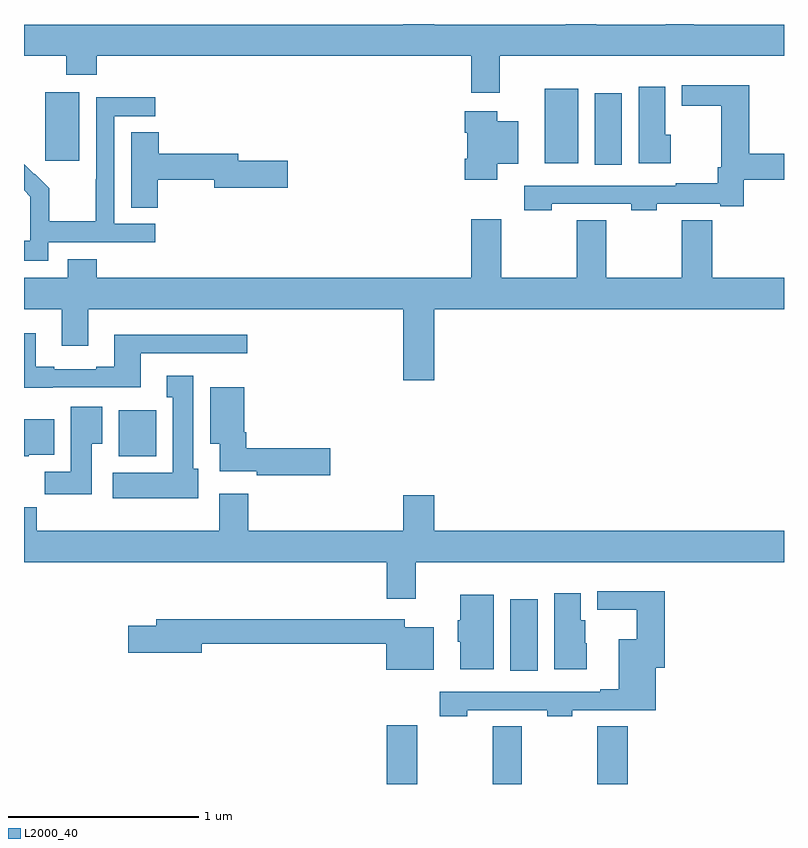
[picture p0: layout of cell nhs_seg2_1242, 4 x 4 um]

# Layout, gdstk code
import gdstk
lib = gdstk.Library(unit=1e-6, precision=1e-09)
def R(c, l, rs):  # rectangles x0, y0, x1, y1
    for r in rs: c.add(gdstk.rectangle(r[:2], r[2:], *l))
def P(c, l, *ps):  # polygons
    for p in ps: c.add(gdstk.Polygon(p, *l))
L2000_40 = (2000, 40)

nhs_seg2_1242 = lib.new_cell('nhs_seg2_1242')
R(nhs_seg2_1242, L2000_40, [(176.909,647.8,177.069,648.109), (177.466,647.8,177.62,648.104), (178.018,647.8,178.178,648.104), (177.56,648.396,177.703,648.772), (175.499,649.526,175.696,649.768), (178.004,651.06,178.147,651.436), (177.74,651.068,177.916,651.46), (175.112,651.081,175.291,651.442)])
P(nhs_seg2_1242, L2000_40, [(177.505,651.632),(179,651.632),(179,651.796),(178.524,651.796),(178.524,651.8),(178.378,651.8),(178.378,651.796),(178.011,651.796),(178.011,651.8),(177.851,651.8),(177.851,651.796),(177.16,651.796),(177.16,651.8),(176.996,651.8),(176.996,651.796),(175,651.796),(175,651.632),(175.222,651.632),(175.222,651.533),(175.382,651.533),(175.382,651.632),(177.353,651.632),(177.353,651.438),(177.505,651.438)],
  [(177.777,650.853),(178.197,650.853),(178.197,650.821),(178.329,650.821),(178.329,650.853),(178.664,650.853),(178.664,650.841),(178.787,650.841),(178.787,650.98),(179,650.98),(179,651.116),(178.817,651.116),(178.817,651.478),(178.461,651.478),(178.461,651.369),(178.67,651.369),(178.67,651.046),(178.651,651.046),(178.651,650.962),(178.429,650.962),(178.429,650.949),(177.633,650.949),(177.633,650.821),(177.777,650.821)],
  [(178.405,651.216),(178.375,651.216),(178.375,651.469),(178.235,651.469),(178.235,651.068),(178.405,651.068)],
  [(175.128,650.652),(175.69,650.652),(175.69,650.748),(175.476,650.748),(175.476,651.315),(175.69,651.315),(175.69,651.414),(175.38,651.414),(175.38,650.984),(175.378,650.984),(175.378,650.761),(175.133,650.761),(175.133,650.935),(175.056,651.012),(175.053,651.009),(175,651.063),(175,650.924),(175.034,650.89),(175.034,650.793),(175.032,650.793),(175.032,650.659),(175,650.659),(175,650.555),(175.128,650.555)],
  [(177.49,651.065),(177.601,651.065),(177.601,651.289),(177.49,651.289),(177.49,651.34),(177.32,651.34),(177.32,651.227),(177.332,651.227),(177.332,651.091),(177.32,651.091),(177.32,650.979),(177.49,650.979)],
  [(175.704,650.98),(176,650.98),(176,650.938),(176.389,650.938),(176.389,651.08),(176.128,651.08),(176.128,651.116),(175.709,651.116),(175.709,651.23),(175.565,651.23),(175.565,650.833),(175.704,650.833)],
  [(177.16,650.3),(179,650.3),(179,650.464),(178.622,650.464),(178.622,650.768),(178.462,650.768),(178.462,650.464),(178.064,650.464),(178.064,650.768),(177.91,650.768),(177.91,650.464),(177.513,650.464),(177.513,650.773),(177.353,650.773),(177.353,650.464),(175.382,650.464),(175.382,650.563),(175.229,650.563),(175.229,650.464),(175,650.464),(175,650.3),(175.199,650.3),(175.199,650.106),(175.339,650.106),(175.339,650.3),(176.996,650.3),(176.996,649.926),(177.16,649.926)],
  [(175.151,649.887),(175.615,649.887),(175.615,650.067),(176.176,650.067),(176.176,650.164),(175.475,650.164),(175.475,649.996),(175.379,649.996),(175.379,649.983),(175.159,649.983),(175.159,649.996),(175.063,649.996),(175.063,650.173),(175,650.173),(175,649.886),(175.151,649.886)],
  [(175.918,649.458),(175.891,649.458),(175.891,649.948),(175.751,649.948),(175.751,649.835),(175.784,649.835),(175.784,649.438),(175.467,649.438),(175.467,649.304),(175.918,649.304)],
  [(176.611,649.568),(176.171,649.568),(176.171,649.651),(176.158,649.651),(176.158,649.888),(175.979,649.888),(175.979,649.592),(176.03,649.592),(176.03,649.445),(176.226,649.445),(176.226,649.426),(176.611,649.426)],
  [(175.357,649.592),(175.411,649.592),(175.411,649.786),(175.247,649.786),(175.247,649.444),(175.108,649.444),(175.108,649.326),(175.357,649.326)],
  [(175.026,649.532),(175.159,649.532),(175.159,649.72),(175,649.72),(175,649.526),(175.026,649.526)],
  [(177.061,648.968),(179,648.968),(179,649.132),(177.16,649.132),(177.16,649.321),(176.996,649.321),(176.996,649.132),(176.18,649.132),(176.18,649.327),(176.027,649.327),(176.027,649.132),(175.067,649.132),(175.067,649.256),(175,649.256),(175,648.968),(176.909,648.968),(176.909,648.774),(177.061,648.774)],
  [(177.333,648.189),(177.753,648.189),(177.753,648.157),(177.885,648.157),(177.885,648.189),(178.324,648.189),(178.324,648.413),(178.373,648.413),(178.373,648.814),(178.017,648.814),(178.017,648.716),(178.226,648.716),(178.226,648.562),(178.13,648.562),(178.13,648.298),(178.034,648.298),(178.034,648.285),(177.189,648.285),(177.189,648.157),(177.333,648.157)],
  [(177.961,648.54),(177.954,648.54),(177.954,648.663),(177.931,648.663),(177.931,648.805),(177.791,648.805),(177.791,648.404),(177.961,648.404)],
  [(177.472,648.796),(177.296,648.796),(177.296,648.663),(177.284,648.663),(177.284,648.549),(177.296,648.549),(177.296,648.404),(177.472,648.404)],
  [(177.157,648.625),(177.004,648.625),(177.004,648.667),(175.697,648.667),(175.697,648.633),(175.548,648.633),(175.548,648.491),(175.936,648.491),(175.936,648.538),(176.906,648.538),(176.906,648.401),(177.157,648.401)])

lib.write_gds('nhs_seg2_1242.gds')
